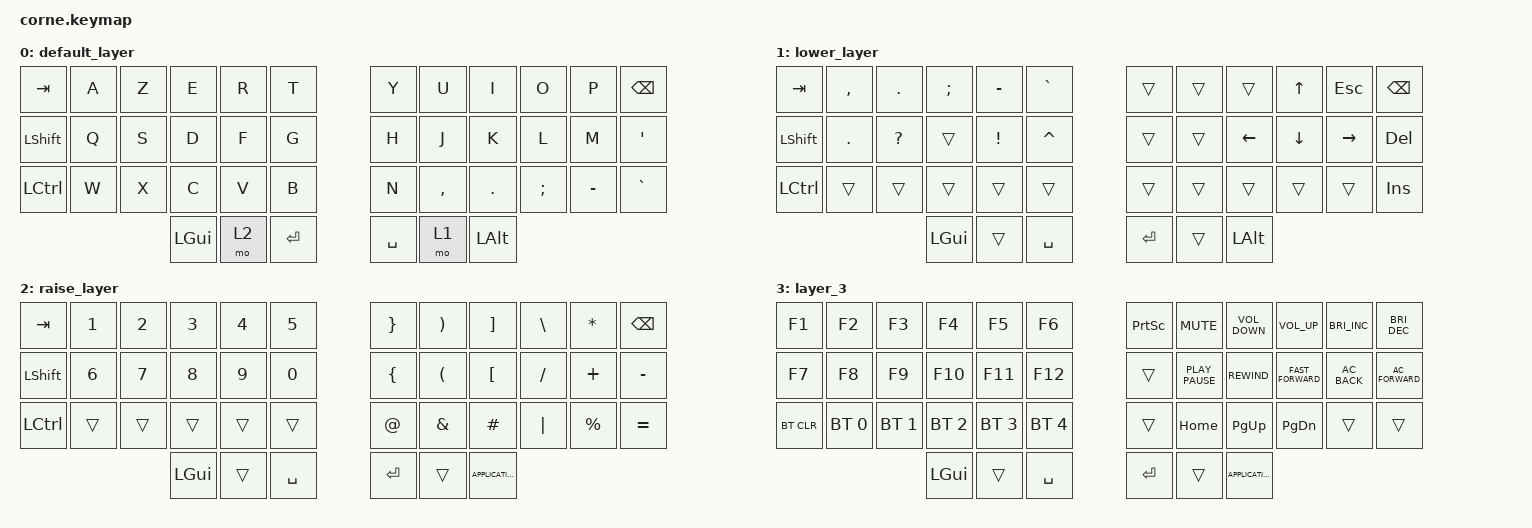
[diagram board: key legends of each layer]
/*
 * Copyright (c) 2020 The ZMK Contributors
 *
 * SPDX-License-Identifier: MIT
 */

#include <behaviors.dtsi>
#include <dt-bindings/zmk/bt.h>
#include <dt-bindings/zmk/keys.h>

/ {
    combos {
        compatible = "zmk,combos";

        Toggle_layer_3 {
            bindings = <&mo 3>;
            key-positions = <37 40>;
        };
    };

    keymap {
        compatible = "zmk,keymap";

        default_layer {
            bindings = <
&kp TAB    &kp A  &kp Z  &kp E     &kp R  &kp T      &kp Y      &kp U      &kp I       &kp O          &kp P      &kp BSPC
&kp LSHFT  &kp Q  &kp S  &kp D     &kp F  &kp G      &kp H      &kp J      &kp K       &kp L          &kp M      &kp SQT
&kp LCTRL  &kp W  &kp X  &kp C     &kp V  &kp B      &kp N      &kp COMMA  &kp PERIOD  &kp SEMICOLON  &kp MINUS  &kp GRAVE
                         &kp LGUI  &mo 2  &kp RET    &kp SPACE  &mo 1      &kp LALT
            >;
        };

        lower_layer {
            bindings = <
&kp TAB     &kp COMMA  &kp PERIOD  &kp SEMICOLON  &kp MINUS  &kp GRAVE     &trans   &trans  &trans    &kp UP    &kp ESC    &kp BSPC
&kp LSHIFT  &kp DOT  &kp QUESTION  &trans    &kp EXCLAMATION  &kp CARET    &trans   &trans  &kp LEFT  &kp DOWN  &kp RIGHT  &kp DEL
&kp LCTRL   &trans   &trans        &trans    &trans           &trans       &trans   &trans  &trans    &trans    &trans     &kp INSERT
                                   &kp LGUI  &trans           &kp SPACE    &kp RET  &trans  &kp LALT
            >;
        };

        raise_layer {
            bindings = <
&kp TAB         &kp N1  &kp N2  &kp N3    &kp N4  &kp N5       &kp RBRC     &kp RIGHT_PARENTHESIS  &kp RBKT           &kp BACKSLASH  &kp ASTERISK  &kp BSPC
&kp LEFT_SHIFT  &kp N6  &kp N7  &kp N8    &kp N9  &kp N0       &kp LBRC     &kp LPAR               &kp LBKT           &kp FSLH       &kp PLUS      &kp MINUS
&kp LCTRL       &trans  &trans  &trans    &trans  &trans       &kp AT_SIGN  &kp AMPERSAND          &kp POUND          &kp PIPE       &kp PERCENT   &kp EQUAL
                                &kp LGUI  &trans  &kp SPACE    &kp RET      &trans                 &kp K_APPLICATION
            >;
        };

        layer_3 {
            bindings = <
&kp F1      &kp F2        &kp F3        &kp F4        &kp F5        &kp F6          &kp PRINTSCREEN  &kp C_MUTE        &kp C_VOLUME_DOWN  &kp C_VOLUME_UP     &kp C_BRI_INC  &kp C_BRI_DEC
&kp F7      &kp F8        &kp F9        &kp F10       &kp F11       &kp F12         &trans           &kp K_PLAY_PAUSE  &kp C_REWIND       &kp C_FAST_FORWARD  &kp C_AC_BACK  &kp C_AC_FORWARD
&bt BT_CLR  &bt BT_SEL 0  &bt BT_SEL 1  &bt BT_SEL 2  &bt BT_SEL 3  &bt BT_SEL 4    &trans           &kp HOME          &kp PAGE_UP        &kp PAGE_DOWN       &trans         &trans
                                        &kp LGUI      &trans        &kp SPACE       &kp ENTER        &trans            &kp K_APPLICATION
            >;
        };
    };
};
